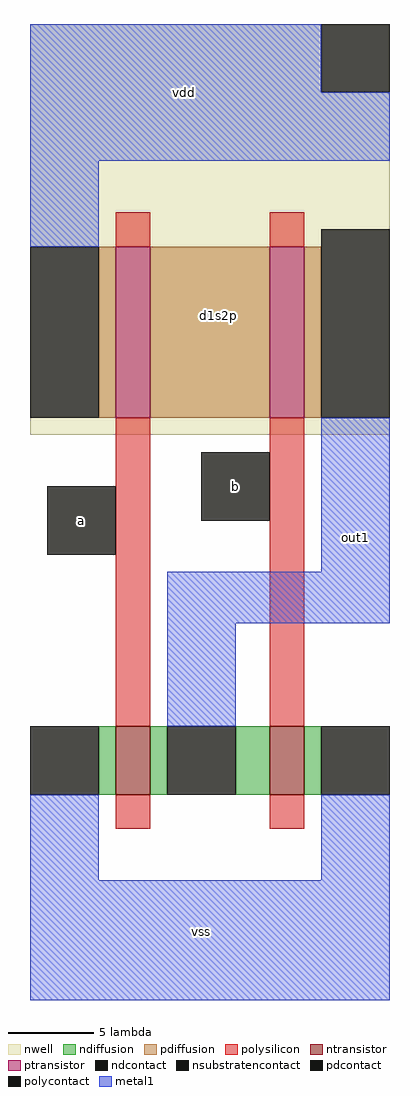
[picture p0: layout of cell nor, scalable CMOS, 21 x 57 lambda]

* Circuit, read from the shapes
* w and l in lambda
.subckt nor a b d1s2p out1 vdd vss
M1 out1 a vss VSUBS nfet w=4 l=2
M2 vss b out1 VSUBS nfet w=4 l=2
M3 d1s2p a vdd vdd pfet w=10 l=2
M4 out1 b d1s2p vdd pfet w=10 l=2
.ends

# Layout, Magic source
magic
tech scmos
<< nwell >>
rect -8 14 13 38
<< polysilicon >>
rect -3 25 -1 27
rect 6 25 8 27
rect -3 -3 -1 15
rect 6 -3 8 15
rect -3 -9 -1 -7
rect 6 -9 8 -7
<< ndiffusion >>
rect -4 -7 -3 -3
rect -1 -7 0 -3
rect 4 -7 6 -3
rect 8 -7 9 -3
<< pdiffusion >>
rect -4 15 -3 25
rect -1 15 6 25
rect 8 15 9 25
<< metal1 >>
rect -8 34 9 38
rect -8 30 13 34
rect -8 25 -4 30
rect 9 6 13 15
rect 0 3 13 6
rect 0 -3 4 3
rect -8 -12 -4 -7
rect 9 -12 13 -7
rect -8 -19 13 -12
<< ntransistor >>
rect -3 -7 -1 -3
rect 6 -7 8 -3
<< ptransistor >>
rect -3 15 -1 25
rect 6 15 8 25
<< polycontact >>
rect -7 7 -3 11
rect 2 9 6 13
<< ndcontact >>
rect -8 -7 -4 -3
rect 0 -7 4 -3
rect 9 -7 13 -3
<< pdcontact >>
rect -8 15 -4 25
rect 9 15 13 26
<< nsubstratencontact >>
rect 9 34 13 38
<< labels >>
rlabel metal1 2 -15 2 -15 1 vss
rlabel polycontact 4 11 4 11 1 b
rlabel pdiffusion 3 21 3 21 1 d1s2p
rlabel polycontact -5 9 -5 9 1 a
rlabel metal1 11 8 11 8 7 out1
rlabel metal1 1 34 1 34 5 vdd
<< end >>
